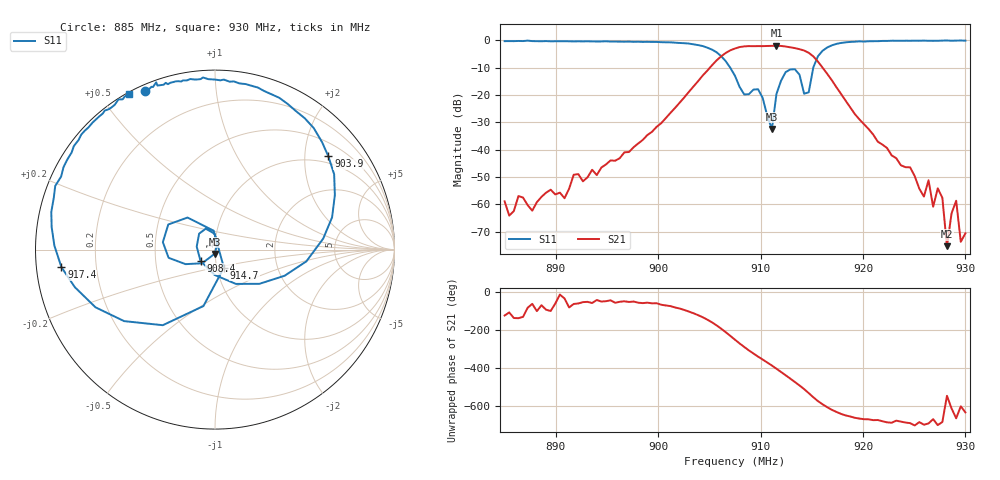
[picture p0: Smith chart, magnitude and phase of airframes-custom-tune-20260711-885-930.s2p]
# HZ S RI R 50
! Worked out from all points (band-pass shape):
!   101 points, 885 MHz to 930 MHz, reference 50 ohm
!   highest |S21| = -2.00 dB at 911.55 MHz (marker M1); lowest = -75.3 dB at 928.2 MHz (marker M2)
!   |S21| within 3 dB of the highest: 906.46 MHz to 914.85 MHz (8.393 MHz wide, 0.922 % of centre)
!   lowest |S11| = -32.5 dB at 911.1 MHz (marker M3), VSWR 1.05, Z = 49.7 - j2.35 ohm
!   |S11| at or under -10 dB: 907.03 MHz to 915.14 MHz (8.113 MHz wide, 0.891 % of centre)
!   S12 and S22 are empty: the file has one direction only
!   S11 on the Smith chart (normalised r, x): 885 MHz: 0.02, +0.65; 903.9 MHz: 0.81, +2.56; 908.4 MHz: 0.84, -0.11; 914.7 MHz: 1.08, -0.22; 917.4 MHz: 0.07, -0.06; 930 MHz: 0.01, +0.59
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8.85e8  -0.3894 0.8842  -0.000619 -0.000951  0 0  0 0
8.9265e8  -0.1567 0.9426  0.0016 -0.00209  0 0  0 0
9.003e8  0.2729 0.8839  0.0123 -0.028  0 0  0 0
9.039e8  0.6315 0.5199  -0.0929 -0.1534  0 0  0 0
9.075e8  0.1167 -0.1912  -0.2404 0.6666  0 0  0 0
9.084e8  -0.0807 -0.0631  0.2426 0.7353  0 0  0 0
9.0975e8  -0.0512 0.1167  0.7317 0.283  0 0  0 0
9.111e8  -0.00244 -0.0237  0.7142 -0.3426  0 0  0 0
9.1155e8  -0.0717 -0.0762  0.584 -0.5387  0 0  0 0
9.129e8  -0.2905 0.0413  -0.061 -0.7423  0 0  0 0
9.147e8  0.0496 -0.1004  -0.5836 -0.0947  0 0  0 0
9.1515e8  -0.0644 -0.3145  -0.4963 0.111  0 0  0 0
9.174e8  -0.8558 -0.0977  -0.0013 0.1391  0 0  0 0
9.228e8  -0.745 0.6411  0.00653 0.00437  0 0  0 0
9.264e8  -0.5916 0.7823  0.00238 0.00138  0 0  0 0
9.2685e8  -0.5761 0.7926  0.000551 0.000716  0 0  0 0
9.273e8  -0.5586 0.8067  0.00183 0.000705  0 0  0 0
9.2775e8  -0.5463 0.8245  0.00105 0.0008  0 0  0 0
9.282e8  -0.5382 0.8366  -0.000171 1.48e-05  0 0  0 0
9.291e8  -0.5054 0.8496  0.000634 0.000974  0 0  0 0
9.2955e8  -0.4928 0.8609  -0.000103 0.000179  0 0  0 0
9.3e8  -0.4764 0.8643  1.02e-05 0.000294  0 0  0 0
